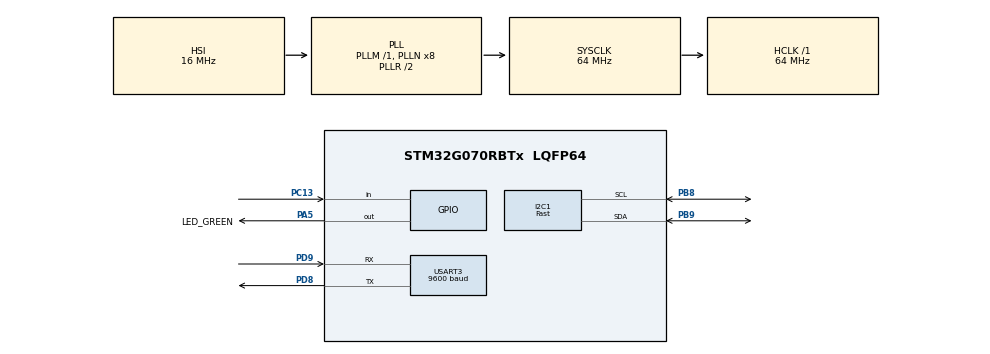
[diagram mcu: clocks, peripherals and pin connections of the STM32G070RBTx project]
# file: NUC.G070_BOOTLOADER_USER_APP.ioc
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CRC.InputDataFormat=CRC_INPUTDATA_FORMAT_WORDS
Dma.Request0=USART3_RX
Dma.USART3_RX.0.Direction=DMA_PERIPH_TO_MEMORY
Dma.USART3_RX.0.EventEnable=DISABLE
Dma.USART3_RX.0.Instance=DMA1_Channel1
Dma.USART3_RX.0.MemDataAlignment=DMA_MDATAALIGN_BYTE
Dma.USART3_RX.0.MemInc=DMA_MINC_ENABLE
Dma.USART3_RX.0.Mode=DMA_NORMAL
Dma.USART3_RX.0.PeriphDataAlignment=DMA_PDATAALIGN_BYTE
Dma.USART3_RX.0.PeriphInc=DMA_PINC_DISABLE
Dma.USART3_RX.0.Polarity=HAL_DMAMUX_REQ_GEN_RISING
Dma.USART3_RX.0.Priority=DMA_PRIORITY_LOW
Dma.USART3_RX.0.RequestNumber=1
Dma.USART3_RX.0.SignalID=NONE
Dma.USART3_RX.0.SyncEnable=DISABLE
Dma.USART3_RX.0.SyncPolarity=HAL_DMAMUX_SYNC_NO_EVENT
Dma.USART3_RX.0.SyncRequestNumber=1
Dma.USART3_RX.0.SyncSignalID=NONE
I2C1.I2C_Speed_Mode=I2C_Fast
I2C1.Timing=0x00602173
Mcu.Family=STM32G0
Mcu.Name=STM32G070RBTx
Mcu.Package=LQFP64
NVIC.DMA1_Channel1_IRQn=true\:0\:0\:false\:false\:true\:false\:true\:true
NVIC.USART3_4_IRQn=true\:0\:0\:false\:false\:true\:true\:true\:true
PA13.GPIO_Label=TMS
PA13.Mode=Serial_Wire
PA13.Signal=SYS_SWDIO
PA14-BOOT0.GPIO_Label=TCK
PA14-BOOT0.Mode=Serial_Wire
PA14-BOOT0.Signal=SYS_SWCLK
PA2.GPIO_PuPd=GPIO_PULLUP
PA2.Signal=USART2_TX
PA3.GPIO_PuPd=GPIO_PULLUP
PA3.Signal=USART2_RX
PA5.GPIO_Label=LED_GREEN
PA5.GPIO_Speed=GPIO_SPEED_FREQ_HIGH
PA5.Signal=GPIO_Output
PB8.Mode=I2C
PB8.Signal=I2C1_SCL
PB9.Mode=I2C
PB9.Signal=I2C1_SDA
PC13.GPIO_PuPd=GPIO_PULLUP
PC13.Signal=GPIO_Input
PC14-OSC32_IN\ (PC14).Mode=LSE-External-Oscillator
PC14-OSC32_IN\ (PC14).Signal=RCC_OSC32_IN
PC15-OSC32_OUT\ (PC15).Mode=LSE-External-Oscillator
PC15-OSC32_OUT\ (PC15).Signal=RCC_OSC32_OUT
PD8.Mode=Asynchronous
PD8.Signal=USART3_TX
PD9.Mode=Asynchronous
PD9.Signal=USART3_RX
PF0-OSC_IN\ (PF0).GPIO_Label=MCO
PF0-OSC_IN\ (PF0).Mode=HSE-External-Clock-Source
PF0-OSC_IN\ (PF0).Signal=RCC_OSC_IN
ProjectManager.HeapSize=0x200
ProjectManager.StackSize=0x400
ProjectManager.TargetToolchain=STM32CubeIDE
RCC.ADCFreq_Value=64000000
RCC.AHBFreq_Value=64000000
RCC.CortexFreq_Value=64000000
RCC.EXTERNAL_CLOCK_VALUE=12288000
RCC.HCLKFreq_Value=64000000
RCC.HSE_VALUE=8000000
RCC.HSI_VALUE=16000000
RCC.SYSCLKFreq_VALUE=64000000
RCC.SYSCLKSource=RCC_SYSCLKSOURCE_PLLCLK
RCC.VCOOutputFreq_Value=128000000
USART3.BaudRate=9600
USART3.VirtualMode-Asynchronous=VM_ASYNC
VP_CRC_VS_CRC.Mode=CRC_Activate
board=NUCLEO-G070RB

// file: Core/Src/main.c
/* USER CODE BEGIN Header */
/**
  ******************************************************************************
  * @file           : main.c
  * @brief          : Main program body
  ******************************************************************************
  * @attention
  *
  * Copyright (c) 2023 STMicroelectronics.
  * All rights reserved.
  *
  * This software is licensed under terms that can be found in the LICENSE file
  * in the root directory of this software component.
  * If no LICENSE file comes with this software, it is provided AS-IS.
  *
  ******************************************************************************
  */
/* USER CODE END Header */
#include "main.h"

/* USER CODE BEGIN Includes */
#include "ssd1306.h"
#include "fonts.h"
#include "stdarg.h"
#include "stdio.h"
#include "string.h"

/* USER CODE END Includes */

/* USER CODE BEGIN PD */
#define FLASH_APP_BASE_ADDRESS 	0x08011000
#define FLASH_END_ADDRESS 		0x0801FFFF
#define TARGET_LORA_HIGH		0x18
#define TARGET_LORA_LOW			0x66
#define TARGET_LORA_CHANNEL   	0x13
#define BOOTLOADER_FLASH_ADDR  	FLASH_BASE
#define RX_DATA_LENGTH			20
#define BL_GO_TO_BOOTLOADER		0x5D
#define BL_JUMPING_BOOTLOADER  	0x17
#define BL_USER_ACTIVE			0x15
#define BL_ACK_VALUE    0xA5
#define BL_NACK_VALUE	0x7F
#define CRC_FAIL					1
#define CRC_SUCCESS					0

/* USER CODE END PD */

CRC_HandleTypeDef hcrc;

I2C_HandleTypeDef hi2c1;

UART_HandleTypeDef huart3;
DMA_HandleTypeDef hdma_usart3_rx;

/* USER CODE BEGIN PV */
uint8_t Rx_data[RX_DATA_LENGTH];

/* USER CODE END PV */

void SystemClock_Config(void);
static void MX_GPIO_Init(void);
static void MX_DMA_Init(void);
static void MX_I2C1_Init(void);
static void MX_USART3_UART_Init(void);
static void MX_CRC_Init(void);
/* USER CODE BEGIN PFP */
uint8_t bootloader_verify_crc(uint8_t *Buffer, uint32_t len, uint32_t crcHost);
void bootloader_send_nack();
void Jump_to_bootloader_application(void);
void bootloader_go_to_bootloader_cmd();
void printMessage(char *format, ...);
void HAL_UARTEx_RxEventCallback(UART_HandleTypeDef *huart, uint16_t Size)
{
	if(huart->Instance == USART3)
	{
		if(Rx_data[1]==BL_GO_TO_BOOTLOADER){
			bootloader_go_to_bootloader_cmd(Rx_data);
		}
	}
}
/* USER CODE END PFP */

int main(void)
{

  /* MCU Configuration--------------------------------------------------------*/

  /* Reset of all peripherals, Initializes the Flash interface and the Systick. */
  HAL_Init();

  /* Configure the system clock */
  SystemClock_Config();

  /* Initialize all configured peripherals */
  MX_GPIO_Init();
  MX_DMA_Init();
  MX_I2C1_Init();
  MX_USART3_UART_Init();
  MX_CRC_Init();
  /* USER CODE BEGIN 2 */
  SSD1306_Init();
  HAL_UARTEx_ReceiveToIdle_DMA(&huart3, Rx_data, RX_DATA_LENGTH);
  __HAL_DMA_DISABLE_IT(&hdma_usart3_rx, DMA_IT_HT);
  /* USER CODE END 2 */

  /* Infinite loop */
  /* USER CODE BEGIN WHILE */
  while (1)
  {
	  SSD1306_GotoXY(0, 0);
	  SSD1306_Clear();

	  SSD1306_Puts(" USER ", &Font_11x18, 1);
	  SSD1306_GotoXY(10, 30);
	  SSD1306_Puts("  APP ", &Font_11x18, 1);
	  SSD1306_UpdateScreen(); //display
	  HAL_Delay(500);
	  SSD1306_GotoXY(0, 0);
	  SSD1306_Clear();
	  SSD1306_Puts("USER APP", &Font_11x18, 1);
	  SSD1306_GotoXY(10, 30);
	  SSD1306_Puts("  WORKING ", &Font_11x18, 1);
	  SSD1306_UpdateScreen(); //display
	  HAL_Delay(500);

    /* USER CODE END WHILE */

  }
}

void SystemClock_Config(void)
{
  RCC_OscInitTypeDef RCC_OscInitStruct = {0};
  RCC_ClkInitTypeDef RCC_ClkInitStruct = {0};

  /** Configure the main internal regulator output voltage
  */
  HAL_PWREx_ControlVoltageScaling(PWR_REGULATOR_VOLTAGE_SCALE1);

  /** Initializes the RCC Oscillators according to the specified parameters
  * in the RCC_OscInitTypeDef structure.
  */
  RCC_OscInitStruct.OscillatorType = RCC_OSCILLATORTYPE_HSI;
  RCC_OscInitStruct.HSIState = RCC_HSI_ON;
  RCC_OscInitStruct.HSIDiv = RCC_HSI_DIV1;
  RCC_OscInitStruct.HSICalibrationValue = RCC_HSICALIBRATION_DEFAULT;
  RCC_OscInitStruct.PLL.PLLState = RCC_PLL_ON;
  RCC_OscInitStruct.PLL.PLLSource = RCC_PLLSOURCE_HSI;
  RCC_OscInitStruct.PLL.PLLM = RCC_PLLM_DIV1;
  RCC_OscInitStruct.PLL.PLLN = 8;
  RCC_OscInitStruct.PLL.PLLP = RCC_PLLP_DIV2;
  RCC_OscInitStruct.PLL.PLLR = RCC_PLLR_DIV2;
  if (HAL_RCC_OscConfig(&RCC_OscInitStruct) != HAL_OK)
  {
    Error_Handler();
  }

  /** Initializes the CPU, AHB and APB buses clocks
  */
  RCC_ClkInitStruct.ClockType = RCC_CLOCKTYPE_HCLK|RCC_CLOCKTYPE_SYSCLK
                              |RCC_CLOCKTYPE_PCLK1;
  RCC_ClkInitStruct.SYSCLKSource = RCC_SYSCLKSOURCE_PLLCLK;
  RCC_ClkInitStruct.AHBCLKDivider = RCC_SYSCLK_DIV1;
  RCC_ClkInitStruct.APB1CLKDivider = RCC_HCLK_DIV1;

  if (HAL_RCC_ClockConfig(&RCC_ClkInitStruct, FLASH_LATENCY_2) != HAL_OK)
  {
    Error_Handler();
  }
}

static void MX_CRC_Init(void)
{

  hcrc.Instance = CRC;
  hcrc.Init.DefaultPolynomialUse = DEFAULT_POLYNOMIAL_ENABLE;
  hcrc.Init.DefaultInitValueUse = DEFAULT_INIT_VALUE_ENABLE;
  hcrc.Init.InputDataInversionMode = CRC_INPUTDATA_INVERSION_NONE;
  hcrc.Init.OutputDataInversionMode = CRC_OUTPUTDATA_INVERSION_DISABLE;
  hcrc.InputDataFormat = CRC_INPUTDATA_FORMAT_WORDS;
  if (HAL_CRC_Init(&hcrc) != HAL_OK)
  {
    Error_Handler();
  }

}

static void MX_I2C1_Init(void)
{

  hi2c1.Instance = I2C1;
  hi2c1.Init.Timing = 0x00602173;
  hi2c1.Init.OwnAddress1 = 0;
  hi2c1.Init.AddressingMode = I2C_ADDRESSINGMODE_7BIT;
  hi2c1.Init.DualAddressMode = I2C_DUALADDRESS_DISABLE;
  hi2c1.Init.OwnAddress2 = 0;
  hi2c1.Init.OwnAddress2Masks = I2C_OA2_NOMASK;
  hi2c1.Init.GeneralCallMode = I2C_GENERALCALL_DISABLE;
  hi2c1.Init.NoStretchMode = I2C_NOSTRETCH_DISABLE;
  if (HAL_I2C_Init(&hi2c1) != HAL_OK)
  {
    Error_Handler();
  }

  /** Configure Analogue filter
  */
  if (HAL_I2CEx_ConfigAnalogFilter(&hi2c1, I2C_ANALOGFILTER_ENABLE) != HAL_OK)
  {
    Error_Handler();
  }

  /** Configure Digital filter
  */
  if (HAL_I2CEx_ConfigDigitalFilter(&hi2c1, 0) != HAL_OK)
  {
    Error_Handler();
  }

}

static void MX_USART3_UART_Init(void)
{

  huart3.Instance = USART3;
  huart3.Init.BaudRate = 9600;
  huart3.Init.WordLength = UART_WORDLENGTH_8B;
  huart3.Init.StopBits = UART_STOPBITS_1;
  huart3.Init.Parity = UART_PARITY_NONE;
  huart3.Init.Mode = UART_MODE_TX_RX;
  huart3.Init.HwFlowCtl = UART_HWCONTROL_NONE;
  huart3.Init.OverSampling = UART_OVERSAMPLING_16;
  huart3.Init.OneBitSampling = UART_ONE_BIT_SAMPLE_DISABLE;
  huart3.Init.ClockPrescaler = UART_PRESCALER_DIV1;
  huart3.AdvancedInit.AdvFeatureInit = UART_ADVFEATURE_NO_INIT;
  if (HAL_UART_Init(&huart3) != HAL_OK)
  {
    Error_Handler();
  }

}

static void MX_DMA_Init(void)
{

  /* DMA controller clock enable */
  __HAL_RCC_DMA1_CLK_ENABLE();

  /* DMA interrupt init */
  /* DMA1_Channel1_IRQn interrupt configuration */
  HAL_NVIC_SetPriority(DMA1_Channel1_IRQn, 0, 0);
  HAL_NVIC_EnableIRQ(DMA1_Channel1_IRQn);

}

static void MX_GPIO_Init(void)
{
  GPIO_InitTypeDef GPIO_InitStruct = {0};

  /* GPIO Ports Clock Enable */
  __HAL_RCC_GPIOC_CLK_ENABLE();
  __HAL_RCC_GPIOF_CLK_ENABLE();
  __HAL_RCC_GPIOA_CLK_ENABLE();
  __HAL_RCC_GPIOD_CLK_ENABLE();
  __HAL_RCC_GPIOB_CLK_ENABLE();

  /*Configure GPIO pin Output Level */
  HAL_GPIO_WritePin(LED_GREEN_GPIO_Port, LED_GREEN_Pin, GPIO_PIN_RESET);

  /*Configure GPIO pin : PC13 */
  GPIO_InitStruct.Pin = GPIO_PIN_13;
  GPIO_InitStruct.Mode = GPIO_MODE_INPUT;
  GPIO_InitStruct.Pull = GPIO_PULLUP;
  HAL_GPIO_Init(GPIOC, &GPIO_InitStruct);

  /*Configure GPIO pins : PA2 PA3 */
  GPIO_InitStruct.Pin = GPIO_PIN_2|GPIO_PIN_3;
  GPIO_InitStruct.Mode = GPIO_MODE_AF_PP;
  GPIO_InitStruct.Pull = GPIO_PULLUP;
  GPIO_InitStruct.Speed = GPIO_SPEED_FREQ_LOW;
  GPIO_InitStruct.Alternate = GPIO_AF1_USART2;
  HAL_GPIO_Init(GPIOA, &GPIO_InitStruct);

  /*Configure GPIO pin : LED_GREEN_Pin */
  GPIO_InitStruct.Pin = LED_GREEN_Pin;
  GPIO_InitStruct.Mode = GPIO_MODE_OUTPUT_PP;
  GPIO_InitStruct.Pull = GPIO_NOPULL;
  GPIO_InitStruct.Speed = GPIO_SPEED_FREQ_HIGH;
  HAL_GPIO_Init(LED_GREEN_GPIO_Port, &GPIO_InitStruct);

}

/* USER CODE BEGIN 4 */
void printMessage(char *format, ...) {
	char comingMessage[100] = { 0 };
	va_list vaList;
	va_start(vaList, format);
	vsprintf(comingMessage, format, vaList);
	SSD1306_GotoXY(0, 0);
	SSD1306_Puts(comingMessage, &Font_7x10, 1);
	SSD1306_UpdateScreen(); //display
	va_end(vaList);
}
void bootloader_send_ack(uint8_t followLength) {
	uint8_t ackBuffer[5];
	ackBuffer[0] = TARGET_LORA_HIGH;
	ackBuffer[1] = TARGET_LORA_LOW;
	ackBuffer[2] = TARGET_LORA_CHANNEL;
	ackBuffer[3] = BL_ACK_VALUE;
	ackBuffer[4] = followLength;

	HAL_UART_Transmit(&huart3, ackBuffer, 5, HAL_MAX_DELAY);
}
void bootloader_uart_write_data(uint8_t *Buffer, uint32_t len) {

	HAL_UART_Transmit(&huart3, Buffer, len, HAL_MAX_DELAY);
}
void bootloader_go_to_bootloader_cmd(uint8_t *bl_rx_data)
{
	uint32_t host_crc = 0;
	uint8_t BL_Lora[5]={0x18,0x66,0x13, BL_USER_ACTIVE, BL_JUMPING_BOOTLOADER};

	uint32_t command_packet_len = bl_rx_data[0] + 1;

	//uint32_t host_crc = *((uint32_t*) ((uint32_t*)bl_rx_data + command_packet_len - 4));
	host_crc |=(bl_rx_data[command_packet_len-1]&0xFFFFFFFF)<<24;
	host_crc |=(bl_rx_data[command_packet_len-2]&0xFFFFFFFF)<<16;
	host_crc |=(bl_rx_data[command_packet_len-3]&0xFFFFFFFF)<<8;
	host_crc |=(bl_rx_data[command_packet_len-4]&0xFFFFFFFF);

	if (!bootloader_verify_crc(&bl_rx_data[0], command_packet_len - 4, host_crc)) {
		printMessage("Checksum succes ");
		bootloader_send_ack(2);
		printMessage("Going to Bootloader ");
		bootloader_uart_write_data(BL_Lora, 5);
		Jump_to_bootloader_application();

		}
	else {
			printMessage("Checksum fail ");
			bootloader_send_nack();
		}
}

void Jump_to_bootloader_application(void) {
	//  Kesmeleri kapa
	/*__disable_irq();// __disable_irq deyince hal_delay çalışmıyor unutma !!!!!*/

	printMessage("Jumping_to_bootloader_application() \n");

	//  MSP'nin değerini tut
	uint32_t mspValue = *(volatile uint32_t*) BOOTLOADER_FLASH_ADDR;
	printMessage("MSP Value: %#x \n", mspValue);

	// Sıfırlama işleyicisinin değerini tut
	uint32_t resetValue = *(volatile uint32_t*) (BOOTLOADER_FLASH_ADDR + 4);
	printMessage("Reset Value: %#x \n", resetValue);

	//  Periferleri sıfırla ve devre dışı bırak

	SCB->VTOR = BOOTLOADER_FLASH_ADDR;
	//__set_MSP(mspValue);	// Bu fonksiyon F407 De calisiyordu ama
	//L053 de çalışmıyor
	SysTick->CTRL = 0;
	SysTick->LOAD = 0;
	SysTick->VAL = 0;
	HAL_NVIC_SystemReset();
	HAL_I2C_DeInit(&hi2c1);
	HAL_UART_MspDeInit(&huart3);
	HAL_UART_DeInit(&huart3);
	HAL_DMA_DeInit(&hdma_usart3_rx);
	HAL_CRC_DeInit(&hcrc);
	HAL_RCC_DeInit();
	HAL_DeInit();
	resetValue = *((volatile uint32_t*) (BOOTLOADER_FLASH_ADDR + 4));
	void (*jump_to_app)(void) = (void *)resetValue;
	jump_to_app();

}

void bootloader_send_nack() {
	uint8_t nackValue[4] ;
	nackValue[0]= TARGET_LORA_HIGH;
	nackValue[1]= TARGET_LORA_LOW;
	nackValue[2]= TARGET_LORA_CHANNEL;
	nackValue[3]= BL_NACK_VALUE;
	HAL_UART_Transmit(&huart3, nackValue, 4, HAL_MAX_DELAY);
}
uint8_t bootloader_verify_crc(uint8_t *Buffer, uint32_t len, uint32_t crcHost) {
	uint32_t crcValue = 0xFF;
	uint32_t data = 0;

	for (uint32_t i = 0; i < len; i++) {
		data = Buffer[i];
		crcValue = HAL_CRC_Accumulate(&hcrc, &data, 1);
	}

	__HAL_CRC_DR_RESET(&hcrc);

	if (crcValue == crcHost) {
		return CRC_SUCCESS;
	}

	return CRC_FAIL;
}

/* USER CODE END 4 */

void Error_Handler(void)
{
  __disable_irq();
  while (1)
  {
  }
}
